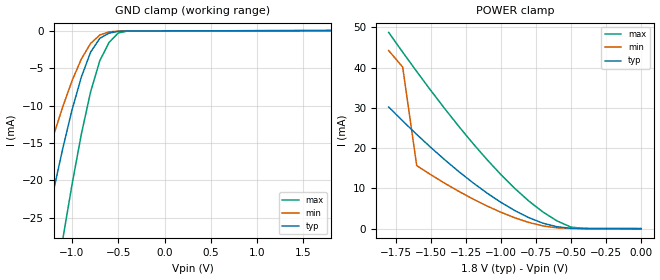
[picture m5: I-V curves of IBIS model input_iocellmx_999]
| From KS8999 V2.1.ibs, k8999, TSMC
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|   Model input_iocellmx_999
[Model]   input_iocellmx_999
Model_type   Input
Polarity   Non-Inverting
Vinl =   0.8V
Vinh =   2.0V
C_comp   1.46e-12F   1.57e-12F   1.38e-12F
[Temperature Range]   25   125   0
[Voltage Range]   1.80V   1.62V   1.98V
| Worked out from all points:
|   GND clamp passes 1 mA (typ) near -0.70 V on its own axis
|   POWER clamp passes 1 mA (typ) near -0.66 V on its own axis
[POWER_clamp]
| voltage   I(typ)   I(min)   I(max)
-1.8V     30.21mA    44.21mA    48.7mA
-1.7V     26.75mA    40.1mA     43.8mA
-1.6V     23.41mA    15.67mA    39mA
-1.3V     14.2mA     9.29mA     25.41mA
-1.1V     8.899mA    5.68mA     17.21mA
-900mV    4.515mA    2.725mA    9.994mA
-800mV    2.758mA    1.568mA    6.867mA
-700mV    1.395mA    714.8uA    4.169mA
-600mV    506.9uA    240.8uA    1.964mA
-500mV    122.5uA    82.93uA    417.5uA
-400mV    55.04uA    52.05uA    69.84uA
0V        42.65uA    38.39uA    46.92uA
[GND_clamp]
| voltage   I(typ)   I(min)   I(max)
-1.8V     -60.41mA   -41.06mA   -86.92mA
-1.5V     -40.24mA   -27mA      -60.97mA
-1.3V     -27.41mA   -18.15mA   -43.96mA
-1.1V     -15.73mA   -10.15mA   -27.89mA
-1V       -10.56mA   -6.678mA   -20.56mA
-900mV    -6.199mA   -3.778mA   -13.86mA
-800mV    -2.856mA   -1.689mA   -8.183mA
-700mV    -993.8uA   -547.1uA   -3.986mA
-600mV    -299.8uA   -134.3uA   -1.547mA
-500mV    -60.36uA   -33.87uA   -272.3uA
-400mV    -11uA      -12.87uA   -15.01uA
1.8V      42.65uA    42.67uA    42.65uA
